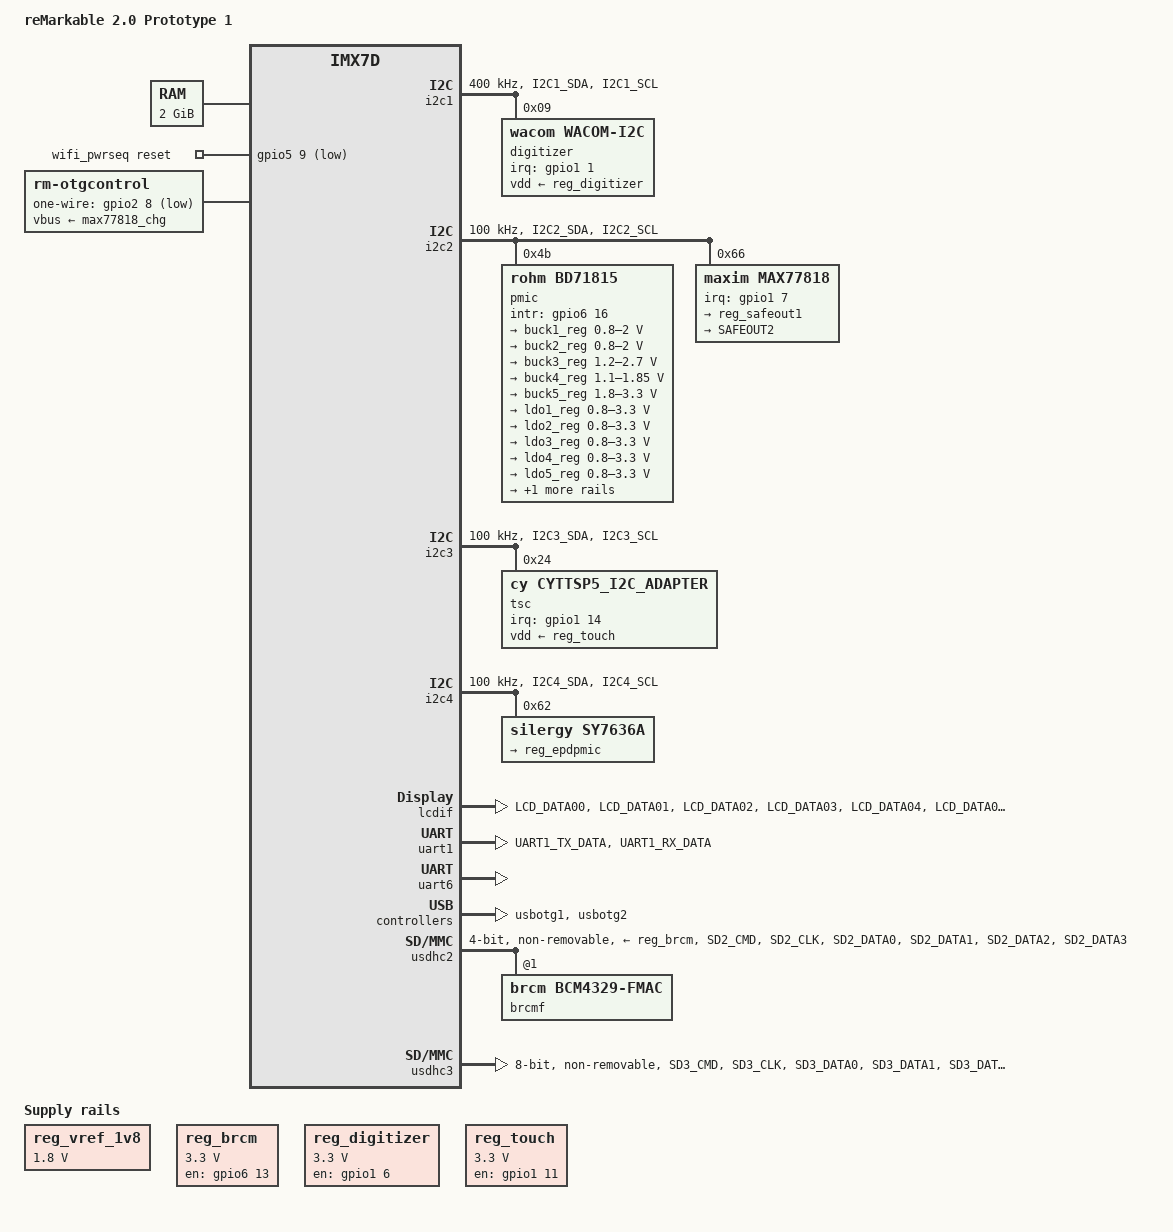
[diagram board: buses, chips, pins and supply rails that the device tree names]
/*
 * Copyright (C) 2015 Freescale Semiconductor, Inc.
 *
 * This file is dual-licensed: you can use it either under the terms
 * of the GPL or the X11 license, at your option. Note that this dual
 * licensing only applies to this file, and not this project as a
 * whole.
 *
 *  a) This file is free software; you can redistribute it and/or
 *     modify it under the terms of the GNU General Public License as
 *     published by the Free Software Foundation; either version 2 of the
 *     License, or (at your option) any later version.
 *
 *     This file is distributed in the hope that it will be useful,
 *     but WITHOUT ANY WARRANTY; without even the implied warranty of
 *     MERCHANTABILITY or FITNESS FOR A PARTICULAR PURPOSE.  See the
 *     GNU General Public License for more details.
 *
 * Or, alternatively,
 *
 *  b) Permission is hereby granted, free of charge, to any person
 *     obtaining a copy of this software and associated documentation
 *     files (the "Software"), to deal in the Software without
 *     restriction, including without limitation the rights to use,
 *     copy, modify, merge, publish, distribute, sublicense, and/or
 *     sell copies of the Software, and to permit persons to whom the
 *     Software is furnished to do so, subject to the following
 *     conditions:
 *
 *     The above copyright notice and this permission notice shall be
 *     included in all copies or substantial portions of the Software.
 *
 *     THE SOFTWARE IS PROVIDED "AS IS", WITHOUT WARRANTY OF ANY KIND,
 *     EXPRESS OR IMPLIED, INCLUDING BUT NOT LIMITED TO THE WARRANTIES
 *     OF MERCHANTABILITY, FITNESS FOR A PARTICULAR PURPOSE AND
 *     NONINFRINGEMENT. IN NO EVENT SHALL THE AUTHORS OR COPYRIGHT
 *     HOLDERS BE LIABLE FOR ANY CLAIM, DAMAGES OR OTHER LIABILITY,
 *     WHETHER IN AN ACTION OF CONTRACT, TORT OR OTHERWISE, ARISING
 *     FROM, OUT OF OR IN CONNECTION WITH THE SOFTWARE OR THE USE OR
 *     OTHER DEALINGS IN THE SOFTWARE.
 */

/dts-v1/;

#include "imx7d.dtsi"

/ {
	model = "reMarkable 2.0 Prototype 1";
	compatible = "fsl,imx7d-sdb", "fsl,imx7d";

	chosen {
		stdout-path = &uart1;
	};

	memory {
		reg = <0x80000000 0x80000000>;
	};

	reg_vref_1v8: regulator-vref-1v8 {
		compatible = "regulator-fixed";
		regulator-name = "vref-1v8";
		regulator-min-microvolt = <1800000>;
		regulator-max-microvolt = <1800000>;
	};

	reg_brcm: regulator-brcm {
		compatible = "regulator-fixed";
		regulator-name = "brcm_reg";
		regulator-min-microvolt = <3300000>;
		regulator-max-microvolt = <3300000>;
		pinctrl-names = "default", "sleep";
		pinctrl-0 = <&pinctrl_brcm_reg>;
		pinctrl-1 = <&pinctrl_brcm_reg>;
		gpio = <&gpio6 13 GPIO_ACTIVE_HIGH>;
		enable-active-high;
		startup-delay-us = <150>;
	};

	reg_digitizer: regulator-digitizer {
		compatible = "regulator-fixed";
		regulator-name = "VDD_3V3_DIGITIZER";
		regulator-min-microvolt = <3300000>;
		regulator-max-microvolt = <3300000>;
		pinctrl-names = "default", "sleep";
		pinctrl-0 = <&pinctrl_digitizer_reg>;
		pinctrl-1 = <&pinctrl_digitizer_reg>;
		gpio = <&gpio1 6 GPIO_ACTIVE_HIGH>;
		enable-active-high;
		startup-delay-us = <100000>; /* 100 ms */
	};

	reg_touch: regulator-touch {
		compatible = "regulator-fixed";
		regulator-name = "VDD_3V3_TOUCH";
		regulator-min-microvolt = <3300000>;
		regulator-max-microvolt = <3300000>;
		pinctrl-names = "default", "sleep";
		pinctrl-0 = <&pinctrl_touch_reg>;
		pinctrl-1 = <&pinctrl_touch_reg>;
		gpio = <&gpio1 11 GPIO_ACTIVE_HIGH>;
		enable-active-high;
	};

	wifi_pwrseq: wifi_pwrseq {
		compatible = "mmc-pwrseq-simple";
		pinctrl-names = "default", "sleep";
		pinctrl-0 = <&pinctrl_wifi>;
		pinctrl-1 = <&pinctrl_wifi>;
		reset-gpios = <&gpio5 9 GPIO_ACTIVE_LOW>;
		clocks = <&clks IMX7D_CLKO2_ROOT_DIV>;
		clock-names = "ext_clock";
	};

	otgcontrol: otgcontrol1 {
		pinctrl-names = "default", "one_wire_uart_tx", "one_wire_uart_rx",
				"sleep";
		pinctrl-0 = <&pinctrl_one_wire_gpio>;
		pinctrl-1 = <&pinctrl_one_wire_uart6_tx>;
		pinctrl-2 = <&pinctrl_one_wire_uart6_rx>;
		pinctrl-3 = <&pinctrl_one_wire_gpio>;
		compatible = "rm-otgcontrol";
		vbus-supply =<&max77818_chg>;
		one-wire-tty-name = "ttymxc5";
		one-wire-gpios = <&gpio2 8 GPIO_ACTIVE_LOW>;
	};
};

&cpu0 {
	cpu-supply = <&buck1_reg>;
};

&clks {
    assigned-clocks = <&clks IMX7D_CLKO2_ROOT_SRC>,
                      <&clks IMX7D_CLKO2_ROOT_DIV>;
    assigned-clock-parents = <&clks IMX7D_CKIL>;
    assigned-clock-rates = <0>, <32768>;
};

&i2c1 {
	clock-frequency = <400000>;
	pinctrl-names = "default", "sleep";
	pinctrl-0 = <&pinctrl_i2c1>;
	pinctrl-1 = <&pinctrl_i2c1>;
	status = "okay";

	digitizer: wacom-i2c@09 {
		pinctrl-names = "default", "sleep";
		pinctrl-0 = <&pinctrl_wacom>;
		pinctrl-1 = <&pinctrl_wacom>;
		compatible = "wacom,wacom-i2c";
		reg = <0x09>;
		interrupt-parent = <&gpio1>;
		interrupts = <1 2>;
		flip-tilt-x;
		flip-tilt-y;
		flip-pos-x;
		flip-pos-y;
		flip-distance;
		vdd-supply = <&reg_digitizer>;
	};
};

&i2c2 {
	clock-frequency = <100000>;
	pinctrl-names = "default", "sleep";
	pinctrl-0 = <&pinctrl_i2c2>;
	pinctrl-1 = <&pinctrl_i2c2>;
	status = "okay";

	pmic: bd71815@4b {
		reg = <0x4b>;
		compatible = "rohm,bd71815";
		pinctrl-names = "default";
		pinctrl-0 = <&pinctrl_bd71815>;
		/* PMIC_INT_B GPIO6_IO16 */
		gpio_intr = <&gpio6 16 0>;

		regulators {
			#address-cells = <1>;
			#size-cells = <0>;

			buck1_reg: regulator@0 {
				reg = <0>;
				regulator-compatible = "buck1";
				regulator-min-microvolt = <800000>;
				regulator-max-microvolt = <2000000>;
				regulator-boot-on;
				regulator-always-on;
				regulator-ramp-delay = <1250>;
			};

			buck2_reg: regulator@1 {
				reg = <1>;
				regulator-compatible = "buck2";
				regulator-min-microvolt = <800000>;
				regulator-max-microvolt = <2000000>;
				regulator-boot-on;
				regulator-always-on;
				regulator-ramp-delay = <1250>;
			};

			buck3_reg: regulator@2 {
				reg = <2>;
				regulator-compatible = "buck3";
				regulator-min-microvolt = <1200000>;
				regulator-max-microvolt = <2700000>;
				regulator-boot-on;
				regulator-always-on;
			};

			buck4_reg: regulator@3 {
				reg = <3>;
				regulator-compatible = "buck4";
				regulator-min-microvolt = <1100000>;
				regulator-max-microvolt = <1850000>;
				regulator-boot-on;
				regulator-always-on;
			};

			buck5_reg: regulator@4 {
				reg = <4>;
				regulator-compatible = "buck5";
				regulator-min-microvolt = <1800000>;
				regulator-max-microvolt = <3300000>;
				regulator-boot-on;
				regulator-always-on;
			};

			ldo1_reg: regulator@5 {
				reg = <5>;
				regulator-compatible = "ldo1";
				regulator-min-microvolt = <800000>;
				regulator-max-microvolt = <3300000>;
				regulator-boot-on;
				regulator-always-on;
			};

			ldo2_reg: regulator@6 {
				reg = <6>;
				regulator-compatible = "ldo2";
				regulator-min-microvolt = <800000>;
				regulator-max-microvolt = <3300000>;
				regulator-boot-on;
				regulator-always-on;
			};

			ldo3_reg: regulator@7 {
				reg = <7>;
				regulator-compatible = "ldo3";
				regulator-min-microvolt = <800000>;
				regulator-max-microvolt = <3300000>;
				regulator-boot-on;
				regulator-always-on;
			};

			ldo4_reg: regulator@8 {
				reg = <8>;
				regulator-compatible = "ldo4";
				regulator-min-microvolt = <800000>;
				regulator-max-microvolt = <3300000>;
				regulator-boot-on;
				regulator-always-on;
			};

			ldo5_reg: regulator@9 {
				reg = <9>;
				regulator-compatible = "ldo5";
				regulator-min-microvolt = <800000>;
				regulator-max-microvolt = <3300000>;
				regulator-boot-on;
				regulator-always-on;
			};

			dvref_reg: regulator@10 {
				reg = <10>;
				regulator-compatible = "dvref";
				regulator-boot-on;
				regulator-always-on;
			};

			lpsr_reg: regulator@11 {
				reg = <11>;
				regulator-compatible = "lpsr";
				regulator-boot-on;
				regulator-always-on;
			};

			wled_reg: regulator@12 {
				reg = <12>;
				regulator-compatible = "wled";
				regulator-min-microamp = <10>;
				regulator-max-microamp = <25000>;
				regulator-boot-on;
				regulator-always-on;
			};
		};
	};

	max77818@66 {
		compatible = "maxim,max77818";
		#address-cells = <0>;
		interrupt-parent = <&gpio1>;
		interrupts = <7 IRQ_TYPE_EDGE_FALLING>;
		pinctrl-names = "default", "sleep";
		pinctrl-0 = <&pinctrl_max77818>;
		pinctrl-1 = <&pinctrl_max77818>;
		reg = <0x66>;

		regulators {
			compatible = "maxim,max77818-regulator";

			reg_safeout1: SAFEOUT1 {
				regulator-name = "SAFEOUT1";
			};

			SAFEOUT2 {
				regulator-name = "SAFEOUT2";
			};
		};

		max77818_chg: charger {
			compatible = "maxim,max77818-charger";
			fast_charge_current = <1500>; /* mA */
			charge_termination_voltage = <4300>; /* mV */
			vsys_min = <3400>; /* mV */
			input_current_limit_chgin = <1500>; /* mA */
			input_current_limit_wcin = <1260>; /* mA */
			topoff_current = <100>; /* mA */
		};

		fuelgauge {
			compatible = "maxim,max77818-fuelgauge";
			power-supplies = <&max77818_chg>;
			maxim,over-heat-temp = <600>; /* tenths of degree Celsius */
			maxim,cold-temp = <(-200)>;
			maxim,over-volt = <4400>; /* mV */
			maxim,dead-volt = <3000>;
			maxim,at-rate = /bits/ 16 <0x1900>;
			maxim,design-cap = /bits/ 16 <0x1816>;
			maxim,config = /bits/ 16 <0x0214>;
			maxim,config2 = /bits/ 16 <0x0050>;
			maxim,convgcfg = /bits/ 16 <0x2241>;
			maxim,dpacc = /bits/ 16 <0x3200>;
			maxim,dqacc = /bits/ 16 <0x0605>;
			maxim,filter-cfg = /bits/ 16 <0xcea4>;
			maxim,fullcapnom = /bits/ 16 <0x1816>;
			maxim,fullcaprep = /bits/ 16 <0x1816>;
			maxim,full-soc-threshold = /bits/ 16 <0x5f05>;
			maxim,iavg-empty = /bits/ 16 <0x1345>;
			maxim,ichg-term = /bits/ 16 <0x0180>;
			maxim,learn-cfg = /bits/ 16 <0x2602>;
			maxim,misc-cfg = /bits/ 16 <0x3870>;
			maxim,qresidual00 = /bits/ 16 <0x1000>;
			maxim,qresidual10 = /bits/ 16 <0x0880>;
			maxim,qresidual20 = /bits/ 16 <0x0500>;
			maxim,qresidual30 = /bits/ 16 <0x0480>;
			maxim,rcomp0 = /bits/ 16 <0x003a>;
			maxim,relax-cfg = /bits/ 16 <0x043c>;
			maxim,smart-chg-cfg = /bits/ 16 <0x0010>;
			maxim,tempco = /bits/ 16 <0x1728>;
			maxim,v-empty = /bits/ 16 <0x9157>;
			maxim,cell-model-data = /bits/ 16 <
				0x9d10 0xab90 0xb710 0xb8f0
				0xba90 0xbc10 0xbd10 0xbe00
				0xbef0 0xbff0 0xc1b0 0xc490
				0xc800 0xce40 0xd4c0 0xdb40
				0x0020 0x0200 0x0c40 0x0d00
				0x1120 0x1980 0x17b0 0x19f0
				0x0df0 0x10f0 0x08f0 0x0810
				0x0770 0x06f0 0x06a0 0x06a0
				0x0200 0x0200 0x0200 0x0200
				0x0200 0x0200 0x0200 0x0200
				0x0200 0x0200 0x0200 0x0200
				0x0200 0x0200 0x0200 0x0200
			>;
		};
	};
};

&i2c3 {
	clock-frequency = <100000>;
	pinctrl-names = "default", "sleep";
	pinctrl-0 = <&pinctrl_i2c3>;
	pinctrl-1 = <&pinctrl_i2c3>;
	status = "okay";

	tsc@24 {
		status = "okay";
		compatible = "cy,cyttsp5_i2c_adapter";
		reg = <0x24>;
		interrupt-parent = <&gpio1>;
		interrupts = <14 2>;
		cy,adapter_id = "cyttsp5_i2c_adapter";
		pinctrl-names = "default", "sleep";
		pinctrl-0 = <&pinctrl_touch>;
		pinctrl-1 = <&pinctrl_touch>;
		vdd-supply = <&reg_touch>;

		cy,core {
			cy,name = "cyttsp5_core";

			cy,irq_gpio = <&gpio1 14 0>;
			cy,rst_gpio = <&gpio1 13 0>;
			cy,hid_desc_register = <1>;
			/* CY_CORE_FLAG_RESTORE_PARAMETERS & CY_CORE_FLAG_POWEROFF_ON_SLEEP */
			cy,flags = <0x6>;
			/* CY_CORE_EWG_NONE */
			cy,easy_wakeup_gesture = <0>;
			cy,btn_keys = <172 /* KEY_HOMEPAGE */
				/* previously was KEY_HOME, new Android versions use KEY_HOMEPAGE */
				139 /* KEY_MENU */
				158 /* KEY_BACK */
				217 /* KEY_SEARCH */
				114 /* KEY_VOLUMEDOWN */
				115 /* KEY_VOLUMEUP */
				212 /* KEY_CAMERA */
				116>; /* KEY_POWER */
			cy,btn_keys-tag = <0>;
			cy,fb_blanking_disabled;

			cy,mt {
				cy,name = "cyttsp5_mt";

				cy,inp_dev_name = "cyttsp5_mt";
				cy,flags = <0>;
				cy,abs =
					/* ABS_MT_POSITION_X, CY_ABS_MIN_X, CY_ABS_MAX_X, 0, 0 */
					<0x35 0 880 0 0
					/* ABS_MT_POSITION_Y, CY_ABS_MIN_Y, CY_ABS_MAX_Y, 0, 0 */
					0x36 0 1280 0 0
					/* ABS_MT_PRESSURE, CY_ABS_MIN_P, CY_ABS_MAX_P, 0, 0 */
					0x3a 0 255 0 0
					/* CY_IGNORE_VALUE, CY_ABS_MIN_W, CY_ABS_MAX_W, 0, 0 */
					0xffff 0 255 0 0
					/* ABS_MT_TRACKING_ID, CY_ABS_MIN_T, CY_ABS_MAX_T, 0, 0 */
					0x39 0 15 0 0
					/* ABS_MT_TOUCH_MAJOR, 0, 255, 0, 0 */
					0x30 0 255 0 0
					/* ABS_MT_TOUCH_MINOR, 0, 255, 0, 0 */
					0x31 0 255 0 0
					/* ABS_MT_ORIENTATION, -127, 127, 0, 0 */
					0x34 0xffffff81 127 0 0
					/* ABS_MT_TOOL_TYPE, 0, MT_TOOL_MAX, 0, 0 */
					0x37 0 1 0 0
					/* ABS_DISTANCE, 0, 255, 0, 0 */
					0x19 0 255 0 0>;

				cy,vkeys_x = <720>;
				cy,vkeys_y = <1280>;

				cy,virtual_keys = /* KeyCode CenterX CenterY Width Height */
					/* KEY_BACK */
					<158 1360 90 160 180
					/* KEY_MENU */
					139 1360 270 160 180
					/* KEY_HOMEPAGE */
					172 1360 450 160 180
					/* KEY SEARCH */
					217 1360 630 160 180>;
			};
		};
	};
};

&i2c4 {
	clock-frequency = <100000>;
	pinctrl-names = "default", "sleep";
	pinctrl-0 = <&pinctrl_i2c4>;
	pinctrl-1 = <&pinctrl_i2c4>;
	status = "okay";

	sy7636a@62 {
		compatible = "silergy,sy7636a";
		reg = <0x62>;
		status = "okay";

		regulators {
			compatible = "silergy,sy7636a-regulator";
			reg_epdpmic: vcom {
				regulator-name = "vcom";
				regulator-boot-on;
			};
		};
	};

};

&lcdif {
	pinctrl-names = "default", "sleep";
	pinctrl-0 = <&pinctrl_lcdif>;
	pinctrl-1 = <&pinctrl_lcdif>;
	/* TODO: enable-gpio = <&extended_io 7 GPIO_ACTIVE_LOW>; */
	lcd-supply = <&reg_epdpmic>;
	display = <&display0>;
	prevent-frying-pan;
	status = "okay";

	display0: display {
		bits-per-pixel = <24>;
		bus-width = <24>;

		display-timings {
			native-mode = <&timing0>;

			timing0: timing0 {
				clock-frequency = <40000000>;
				hactive = <334>;
				vactive = <1405>;
				hfront-porch = <1>;
				hback-porch = <1>;
				hsync-len = <1>;
				vback-porch = <1>;
				vfront-porch = <1>;
				vsync-len = <1>;
				hsync-active = <0>;
				vsync-active = <0>;
				de-active = <1>;
				pixelclk-active = <1>;
			};
		};
	};
};

&ocrams {
	fsl,enable-lpsr;
};

&sdma {
	status = "okay";
};

&uart1 {
	pinctrl-names = "default", "sleep";
	pinctrl-0 = <&pinctrl_uart1>;
	pinctrl-1 = <&pinctrl_uart1>;
	assigned-clocks = <&clks IMX7D_UART1_ROOT_SRC>;
	assigned-clock-parents = <&clks IMX7D_OSC_24M_CLK>;
	status = "okay";
};

&uart6 {
	/* Pinctrl is defined under 'otgcontrol' driver, which will switch the pinmuxing as required */
	assigned-clocks = <&clks IMX7D_UART6_ROOT_SRC>;
	assigned-clock-parents = <&clks IMX7D_OSC_24M_CLK>;
	status = "okay";
};

&usbotg1 {
	extcon = <0 &otgcontrol>;
	srp-disable;
	hnp-disable;
	dp-disable;
	status = "okay";
};

&usbotg2 {
	srp-disable;
	hnp-disable;
	asp-disable;
	status = "okay";
};

&usdhc2 {
	#address-cells = <1>;
	#size-cells = <0>;
	pinctrl-names = "default", "state_100mhz", "sleep";
	pinctrl-0 = <&pinctrl_usdhc2>;
	pinctrl-1 = <&pinctrl_usdhc2_100mhz>;
	pinctrl-2 = <&pinctrl_usdhc2>;
	mmc-pwrseq = <&wifi_pwrseq>;
	vmmc-supply = <&reg_brcm>;
	bus-width = <4>;
	non-removable;
	cap-power-off-card;
	status = "okay";

	brcmf: bcrmf@1 {
		reg = <1>;
		compatible = "brcm,bcm4329-fmac";
	};
};

&usdhc3 {
	pinctrl-names = "default", "state_100mhz", "state_200mhz", "sleep";
	pinctrl-0 = <&pinctrl_usdhc3>;
	pinctrl-1 = <&pinctrl_usdhc3_100mhz>;
	pinctrl-2 = <&pinctrl_usdhc3_200mhz>;
	pinctrl-3 = <&pinctrl_usdhc3>;
	assigned-clocks = <&clks IMX7D_USDHC3_ROOT_CLK>;
	assigned-clock-rates = <400000000>;
	bus-width = <8>;
	non-removable;
	status = "okay";
};

&wdog1 {
	pinctrl-names = "default", "sleep";
	pinctrl-0 = <&pinctrl_wdog>;
	pinctrl-1 = <&pinctrl_wdog>;
	fsl,ext-reset-output;
};

&iomuxc_lpsr {
	pinctrl_wacom: wacomgrp {
		fsl,pins = <
			/*MX7D_PAD_LPSR_GPIO1_IO00__GPIO1_IO0	0x00000074 /* WACOM RESET */
			MX7D_PAD_LPSR_GPIO1_IO01__GPIO1_IO1	0x00000034 /* WACOM INT */
			MX7D_PAD_LPSR_GPIO1_IO04__GPIO1_IO4	0x00000074 /* PDCTB */
			/*MX7D_PAD_LPSR_GPIO1_IO05__GPIO1_IO5	0x00000014 /* FWE */
			/*MX7D_PAD_LPSR_GPIO1_IO06__GPIO1_IO6	0x00000014 /* WACOM PWR ENABLE */
		>;
	};

	pinctrl_digitizer_reg: digitizerreggrp {
		fsl,pins = <
			/* DIGITIZER_PWR_EN */
			MX7D_PAD_LPSR_GPIO1_IO06__GPIO1_IO6	0x14
		>;
	};

	pinctrl_max77818: max77818grp {
		fsl,pins = <
			MX7D_PAD_LPSR_GPIO1_IO07__GPIO1_IO7	0x74
		>;
	};
};

&iomuxc {
	pinctrl_bd71815: bd71815grp {
		fsl,pins = <
			MX7D_PAD_SAI1_RX_SYNC__GPIO6_IO16	0x59
		>;
	};

	pinctrl_touch: touchgrp {
		fsl,pins = <
			/* CYTTSP interrupt */
			MX7D_PAD_GPIO1_IO14__GPIO1_IO14		0x17000
			/* CYTTSP reset */
			MX7D_PAD_GPIO1_IO13__GPIO1_IO13		0x110b0
		>;
	};

	pinctrl_i2c1: i2c1grp {
		fsl,pins = <
			MX7D_PAD_I2C1_SDA__I2C1_SDA		0x4000007f
			MX7D_PAD_I2C1_SCL__I2C1_SCL		0x4000007f
		>;
	};

	pinctrl_i2c2: i2c2grp {
		fsl,pins = <
			MX7D_PAD_I2C2_SDA__I2C2_SDA		0x4000007f
			MX7D_PAD_I2C2_SCL__I2C2_SCL		0x4000007f
		>;
	};

	pinctrl_i2c3: i2c3grp {
		fsl,pins = <
			MX7D_PAD_I2C3_SDA__I2C3_SDA		0x4000007f
			MX7D_PAD_I2C3_SCL__I2C3_SCL		0x4000007f
		>;
	};

	pinctrl_i2c4: i2c4grp {
		fsl,pins = <
			MX7D_PAD_I2C4_SDA__I2C4_SDA		0x4000007f
			MX7D_PAD_I2C4_SCL__I2C4_SCL		0x4000007f
		>;
	};

	pinctrl_lcdif: lcdifgrp {
		fsl,pins = <
			MX7D_PAD_LCD_DATA00__LCD_DATA0		0x79
			MX7D_PAD_LCD_DATA01__LCD_DATA1		0x79
			MX7D_PAD_LCD_DATA02__LCD_DATA2		0x79
			MX7D_PAD_LCD_DATA03__LCD_DATA3		0x79
			MX7D_PAD_LCD_DATA04__LCD_DATA4		0x79
			MX7D_PAD_LCD_DATA05__LCD_DATA5		0x79
			MX7D_PAD_LCD_DATA06__LCD_DATA6		0x79
			MX7D_PAD_LCD_DATA07__LCD_DATA7		0x79
			MX7D_PAD_LCD_DATA08__LCD_DATA8		0x79
			MX7D_PAD_LCD_DATA09__LCD_DATA9		0x79
			MX7D_PAD_LCD_DATA10__LCD_DATA10		0x79
			MX7D_PAD_LCD_DATA11__LCD_DATA11		0x79
			MX7D_PAD_LCD_DATA12__LCD_DATA12		0x79
			MX7D_PAD_LCD_DATA13__LCD_DATA13		0x79
			MX7D_PAD_LCD_DATA14__LCD_DATA14		0x79
			MX7D_PAD_LCD_DATA15__LCD_DATA15		0x79
			MX7D_PAD_LCD_DATA16__LCD_DATA16		0x79
			MX7D_PAD_LCD_DATA17__LCD_DATA17		0x79
			MX7D_PAD_LCD_DATA18__LCD_DATA18		0x79
			MX7D_PAD_LCD_DATA19__LCD_DATA19		0x79
			MX7D_PAD_LCD_DATA20__LCD_DATA20		0x79
			MX7D_PAD_LCD_DATA21__LCD_DATA21		0x79
			MX7D_PAD_LCD_DATA22__LCD_DATA22		0x79
			MX7D_PAD_LCD_DATA23__LCD_DATA23		0x79
			MX7D_PAD_LCD_CLK__LCD_CLK		0x79
			MX7D_PAD_LCD_ENABLE__LCD_ENABLE		0x79
			MX7D_PAD_LCD_VSYNC__LCD_VSYNC		0x79
			MX7D_PAD_LCD_HSYNC__LCD_HSYNC		0x79
			MX7D_PAD_LCD_RESET__LCD_RESET		0x79
		>;
	};

	pinctrl_uart1: uart1grp {
		fsl,pins = <
			MX7D_PAD_UART1_TX_DATA__UART1_DCE_TX	0x79
			MX7D_PAD_UART1_RX_DATA__UART1_DCE_RX	0x79
		>;
	};

	pinctrl_usdhc2: usdhc2grp {
		fsl,pins = <
			MX7D_PAD_SD2_CMD__SD2_CMD		0x59
			MX7D_PAD_SD2_CLK__SD2_CLK		0x19
			MX7D_PAD_SD2_DATA0__SD2_DATA0		0x59
			MX7D_PAD_SD2_DATA1__SD2_DATA1		0x59
			MX7D_PAD_SD2_DATA2__SD2_DATA2		0x59
			MX7D_PAD_SD2_DATA3__SD2_DATA3		0x59
		>;
	};

	pinctrl_usdhc2_100mhz: usdhc2grp_100mhz {
		fsl,pins = <
			MX7D_PAD_SD2_CMD__SD2_CMD		0x5a
			MX7D_PAD_SD2_CLK__SD2_CLK		0x1a
			MX7D_PAD_SD2_DATA0__SD2_DATA0		0x5a
			MX7D_PAD_SD2_DATA1__SD2_DATA1		0x5a
			MX7D_PAD_SD2_DATA2__SD2_DATA2		0x5a
			MX7D_PAD_SD2_DATA3__SD2_DATA3		0x5a
		>;
	};

	pinctrl_usdhc2_200mhz: usdhc2grp_200mhz {
		fsl,pins = <
			MX7D_PAD_SD2_CMD__SD2_CMD		0x5b
			MX7D_PAD_SD2_CLK__SD2_CLK		0x1b
			MX7D_PAD_SD2_DATA0__SD2_DATA0		0x5b
			MX7D_PAD_SD2_DATA1__SD2_DATA1		0x5b
			MX7D_PAD_SD2_DATA2__SD2_DATA2		0x5b
			MX7D_PAD_SD2_DATA3__SD2_DATA3		0x5b
		>;
	};


	pinctrl_usdhc3: usdhc3grp {
		fsl,pins = <
			MX7D_PAD_SD3_CMD__SD3_CMD		0x59
			MX7D_PAD_SD3_CLK__SD3_CLK		0x19
			MX7D_PAD_SD3_DATA0__SD3_DATA0		0x59
			MX7D_PAD_SD3_DATA1__SD3_DATA1		0x59
			MX7D_PAD_SD3_DATA2__SD3_DATA2		0x59
			MX7D_PAD_SD3_DATA3__SD3_DATA3		0x59
			MX7D_PAD_SD3_DATA4__SD3_DATA4		0x59
			MX7D_PAD_SD3_DATA5__SD3_DATA5		0x59
			MX7D_PAD_SD3_DATA6__SD3_DATA6		0x59
			MX7D_PAD_SD3_DATA7__SD3_DATA7		0x59
			MX7D_PAD_SD3_STROBE__SD3_STROBE		0x19
		>;
	};

	pinctrl_usdhc3_100mhz: usdhc3grp_100mhz {
		fsl,pins = <
			MX7D_PAD_SD3_CMD__SD3_CMD		0x5a
			MX7D_PAD_SD3_CLK__SD3_CLK		0x1a
			MX7D_PAD_SD3_DATA0__SD3_DATA0		0x5a
			MX7D_PAD_SD3_DATA1__SD3_DATA1		0x5a
			MX7D_PAD_SD3_DATA2__SD3_DATA2		0x5a
			MX7D_PAD_SD3_DATA3__SD3_DATA3		0x5a
			MX7D_PAD_SD3_DATA4__SD3_DATA4		0x5a
			MX7D_PAD_SD3_DATA5__SD3_DATA5		0x5a
			MX7D_PAD_SD3_DATA6__SD3_DATA6		0x5a
			MX7D_PAD_SD3_DATA7__SD3_DATA7		0x5a
			MX7D_PAD_SD3_STROBE__SD3_STROBE		0x1a
		>;
	};

	pinctrl_usdhc3_200mhz: usdhc3grp_200mhz {
		fsl,pins = <
			MX7D_PAD_SD3_CMD__SD3_CMD		0x5b
			MX7D_PAD_SD3_CLK__SD3_CLK		0x1b
			MX7D_PAD_SD3_DATA0__SD3_DATA0		0x5b
			MX7D_PAD_SD3_DATA1__SD3_DATA1		0x5b
			MX7D_PAD_SD3_DATA2__SD3_DATA2		0x5b
			MX7D_PAD_SD3_DATA3__SD3_DATA3		0x5b
			MX7D_PAD_SD3_DATA4__SD3_DATA4		0x5b
			MX7D_PAD_SD3_DATA5__SD3_DATA5		0x5b
			MX7D_PAD_SD3_DATA6__SD3_DATA6		0x5b
			MX7D_PAD_SD3_DATA7__SD3_DATA7		0x5b
			MX7D_PAD_SD3_STROBE__SD3_STROBE		0x1b
		>;
	};

	pinctrl_brcm_reg: brcmreggrp {
		fsl,pins = <
			/* WIFI_PWR_EN */
			MX7D_PAD_SAI1_TX_BCLK__GPIO6_IO13	0x14
		>;
	};

	pinctrl_wifi: wifigrp {
		fsl,pins = <
			/* WiFi Reg On */
			MX7D_PAD_SD2_CD_B__GPIO5_IO9		0x00000014
			/* WiFi Sleep 32k */
			MX7D_PAD_SD1_WP__CCM_CLKO2		0x00000014
		>;
	};

	pinctrl_wdog: wdoggrp {
		fsl,pins = <
			MX7D_PAD_ENET1_COL__WDOG1_WDOG_ANY	0x74
		>;
	};

	pinctrl_one_wire_gpio: one_wire_gpio_grp {
		fsl,pins = <
			MX7D_PAD_EPDC_DATA08__GPIO2_IO8		0x00000074
			MX7D_PAD_EPDC_DATA09__GPIO2_IO9		0x00000004
		>;
	};

	pinctrl_one_wire_uart6_tx: one_wire_uart6_tx_grp {
		fsl,pins = <
			MX7D_PAD_EPDC_DATA08__GPIO2_IO8		0x00000004
			MX7D_PAD_EPDC_DATA09__UART6_DCE_TX	0x00000004
		>;
	};

	pinctrl_one_wire_uart6_rx: one_wire_uart6_rx_grp {
		fsl,pins = <
			MX7D_PAD_EPDC_DATA08__UART6_DCE_RX	0x00000004
			MX7D_PAD_EPDC_DATA09__GPIO2_IO9		0x00000004
		>;
	};

	pinctrl_touch_reg: touchreggrp {
		fsl,pins = <
			/* TOUCH_PWR_EN */
			MX7D_PAD_GPIO1_IO11__GPIO1_IO11		0x14
		>;
	};
};
